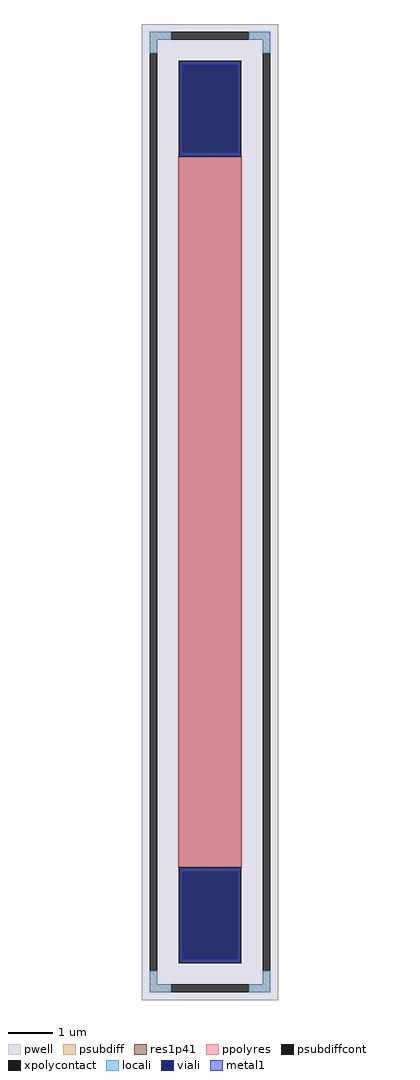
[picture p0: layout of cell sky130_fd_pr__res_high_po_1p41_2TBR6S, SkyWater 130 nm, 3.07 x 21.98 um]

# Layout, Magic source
magic
tech sky130A
magscale 1 2
<< pwell >>
rect -307 -2198 307 2198
<< psubdiff >>
rect -271 2128 -175 2162
rect 175 2128 271 2162
rect -271 2066 -237 2128
rect 237 2066 271 2128
rect -271 -2128 -237 -2066
rect 237 -2128 271 -2066
rect -271 -2162 -175 -2128
rect 175 -2162 271 -2128
<< psubdiffcont >>
rect -175 2128 175 2162
rect -271 -2066 -237 2066
rect 237 -2066 271 2066
rect -175 -2162 175 -2128
<< xpolycontact >>
rect -141 1600 141 2032
rect -141 -2032 141 -1600
<< ppolyres >>
rect -141 -1600 141 1600
<< locali >>
rect -271 2128 -175 2162
rect 175 2128 271 2162
rect -271 2066 -237 2128
rect 237 2066 271 2128
rect -271 -2128 -237 -2066
rect 237 -2128 271 -2066
rect -271 -2162 -175 -2128
rect 175 -2162 271 -2128
<< viali >>
rect -125 1617 125 2014
rect -125 -2014 125 -1617
<< metal1 >>
rect -131 2014 131 2026
rect -131 1617 -125 2014
rect 125 1617 131 2014
rect -131 1605 131 1617
rect -131 -1617 131 -1605
rect -131 -2014 -125 -1617
rect 125 -2014 131 -1617
rect -131 -2026 131 -2014
<< res1p41 >>
rect -143 -1602 143 1602
<< properties >>
string FIXED_BBOX -254 -2145 254 2145
string gencell sky130_fd_pr__res_high_po_1p41
string library sky130
string parameters w 1.410 l 16 m 1 nx 1 wmin 1.410 lmin 0.50 rho 319.8 val 3.905k dummy 0 dw 0.0 term 194.82 sterm 0.0 caplen 0 guard 1 glc 1 grc 1 gtc 1 gbc 1 compatible {sky130_fd_pr__res_high_po_0p35  sky130_fd_pr__res_high_po_0p69 sky130_fd_pr__res_high_po_1p41  sky130_fd_pr__res_high_po_2p85 sky130_fd_pr__res_high_po_5p73} snake 0 full_metal 1 wmax 1.410 n_guard 0 hv_guard 0 vias 1 viagb 0 viagt 0 viagl 0 viagr 0
<< end >>
